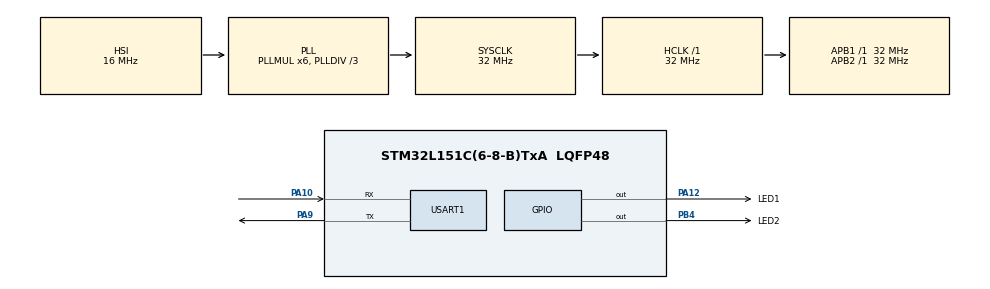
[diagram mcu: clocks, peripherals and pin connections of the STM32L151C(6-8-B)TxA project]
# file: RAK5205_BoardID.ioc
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Mcu.Family=STM32L1
Mcu.Name=STM32L151C(6-8-B)TxA
Mcu.Package=LQFP48
NVIC.PriorityGroup=NVIC_PRIORITYGROUP_4
PA10.Mode=Asynchronous
PA10.Signal=USART1_RX
PA12.GPIO_Label=LED1
PA12.PinState=GPIO_PIN_SET
PA12.Signal=GPIO_Output
PA13.Mode=Serial_Wire
PA13.Signal=SYS_JTMS-SWDIO
PA14.Mode=Serial_Wire
PA14.Signal=SYS_JTCK-SWCLK
PA9.Mode=Asynchronous
PA9.Signal=USART1_TX
PB4.GPIO_Label=LED2
PB4.PinState=GPIO_PIN_SET
PB4.Signal=GPIO_Output
ProjectManager.HeapSize=0x200
ProjectManager.StackSize=0x400
ProjectManager.TargetToolchain=SW4STM32
RCC.48MHZClocksFreq_Value=48000000
RCC.AHBFreq_Value=32000000
RCC.APB1Freq_Value=32000000
RCC.APB1TimFreq_Value=32000000
RCC.APB2Freq_Value=32000000
RCC.APB2TimFreq_Value=32000000
RCC.HCLKFreq_Value=32000000
RCC.HSE_VALUE=24000000
RCC.HSI_VALUE=16000000
RCC.LSE_VALUE=32768
RCC.MSI_VALUE=2097000
RCC.PLLDIV=RCC_PLL_DIV3
RCC.PLLMUL=RCC_PLL_MUL6
RCC.SYSCLKFreq_VALUE=32000000
RCC.SYSCLKSource=RCC_SYSCLKSOURCE_PLLCLK
RCC.VCOOutputFreq_Value=96000000
USART1.VirtualMode=VM_ASYNC
board=custom

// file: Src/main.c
/* USER CODE BEGIN Header */
/**
  ******************************************************************************
  * @file           : main.c
  * @brief          : Main program body
  ******************************************************************************
  ** This notice applies to any and all portions of this file
  * that are not between comment pairs USER CODE BEGIN and
  * USER CODE END. Other portions of this file, whether
  * inserted by the user or by software development tools
  * are owned by their respective copyright owners.
  *
  * COPYRIGHT(c) 2018 STMicroelectronics
  *
  * Redistribution and use in source and binary forms, with or without modification,
  * are permitted provided that the following conditions are met:
  *   1. Redistributions of source code must retain the above copyright notice,
  *      this list of conditions and the following disclaimer.
  *   2. Redistributions in binary form must reproduce the above copyright notice,
  *      this list of conditions and the following disclaimer in the documentation
  *      and/or other materials provided with the distribution.
  *   3. Neither the name of STMicroelectronics nor the names of its contributors
  *      may be used to endorse or promote products derived from this software
  *      without specific prior written permission.
  *
  * THIS SOFTWARE IS PROVIDED BY THE COPYRIGHT HOLDERS AND CONTRIBUTORS "AS IS"
  * AND ANY EXPRESS OR IMPLIED WARRANTIES, INCLUDING, BUT NOT LIMITED TO, THE
  * IMPLIED WARRANTIES OF MERCHANTABILITY AND FITNESS FOR A PARTICULAR PURPOSE ARE
  * DISCLAIMED. IN NO EVENT SHALL THE COPYRIGHT HOLDER OR CONTRIBUTORS BE LIABLE
  * FOR ANY DIRECT, INDIRECT, INCIDENTAL, SPECIAL, EXEMPLARY, OR CONSEQUENTIAL
  * DAMAGES (INCLUDING, BUT NOT LIMITED TO, PROCUREMENT OF SUBSTITUTE GOODS OR
  * SERVICES; LOSS OF USE, DATA, OR PROFITS; OR BUSINESS INTERRUPTION) HOWEVER
  * CAUSED AND ON ANY THEORY OF LIABILITY, WHETHER IN CONTRACT, STRICT LIABILITY,
  * OR TORT (INCLUDING NEGLIGENCE OR OTHERWISE) ARISING IN ANY WAY OUT OF THE USE
  * OF THIS SOFTWARE, EVEN IF ADVISED OF THE POSSIBILITY OF SUCH DAMAGE.
  *
  ******************************************************************************
  */
/* USER CODE END Header */

#include "main.h"

UART_HandleTypeDef huart1;

void SystemClock_Config(void);
static void MX_GPIO_Init(void);
static void MX_USART1_UART_Init(void);

int main(void)
{
  /* USER CODE BEGIN 1 */
  uint8_t DevEui[8];
  /* USER CODE END 1 */

  /* MCU Configuration--------------------------------------------------------*/

  /* Reset of all peripherals, Initializes the Flash interface and the Systick. */
  HAL_Init();

  /* Configure the system clock */
  SystemClock_Config();

  /* Initialize all configured peripherals */
  MX_GPIO_Init();
  MX_USART1_UART_Init();
  /* USER CODE BEGIN 2 */
  printf("Print the RAK5205 Board ID\r\n");
  printf("This information is needed to fill the device EUI field when registering the device with TTN\r\n");
  printf("Uli Raich, 11.12.2018\r\n");
  printf("This program is part of the UCC LoRa project\r\n");
  printf("University of Cape Coast, Cape Coast, Ghana\r\n");
  printf("Released under GPL\r\n");
/*
 * read the ID registers and print the contents
 */
  DevEui[7] = ( ( *( uint32_t* )ID1 )+ ( *( uint32_t* )ID3 ) ) >> 24;
  DevEui[6] = ( ( *( uint32_t* )ID1 )+ ( *( uint32_t* )ID3 ) ) >> 16;
  DevEui[5] = ( ( *( uint32_t* )ID1 )+ ( *( uint32_t* )ID3 ) ) >> 8;
  DevEui[4] = ( ( *( uint32_t* )ID1 )+ ( *( uint32_t* )ID3 ) );
  DevEui[3] = ( ( *( uint32_t* )ID2 ) ) >> 24;
  DevEui[2] = ( ( *( uint32_t* )ID2 ) ) >> 16;
  DevEui[1] = ( ( *( uint32_t* )ID2 ) ) >> 8;
  DevEui[0] = ( ( *( uint32_t* )ID2 ) );

  printf("Dev Eui read from board identifier: { ");
  for (int i=0;i<8;i++) {
	  if (i==7)
		  printf("0x%02x }\r\n",DevEui[i]);
	  else
		  printf("0x%02x, ",DevEui[i]);
  }
  /* USER CODE END 2 */

  /* Infinite loop */
  while (1)
  {

  }
}

void SystemClock_Config(void)
{
  RCC_OscInitTypeDef RCC_OscInitStruct = {0};
  RCC_ClkInitTypeDef RCC_ClkInitStruct = {0};

  /**Configure the main internal regulator output voltage
  */
  __HAL_PWR_VOLTAGESCALING_CONFIG(PWR_REGULATOR_VOLTAGE_SCALE1);
  /**Initializes the CPU, AHB and APB busses clocks
  */
  RCC_OscInitStruct.OscillatorType = RCC_OSCILLATORTYPE_HSI;
  RCC_OscInitStruct.HSIState = RCC_HSI_ON;
  RCC_OscInitStruct.HSICalibrationValue = RCC_HSICALIBRATION_DEFAULT;
  RCC_OscInitStruct.PLL.PLLState = RCC_PLL_ON;
  RCC_OscInitStruct.PLL.PLLSource = RCC_PLLSOURCE_HSI;
  RCC_OscInitStruct.PLL.PLLMUL = RCC_PLL_MUL6;
  RCC_OscInitStruct.PLL.PLLDIV = RCC_PLL_DIV3;
  if (HAL_RCC_OscConfig(&RCC_OscInitStruct) != HAL_OK)
  {
    Error_Handler();
  }
  /**Initializes the CPU, AHB and APB busses clocks
  */
  RCC_ClkInitStruct.ClockType = RCC_CLOCKTYPE_HCLK|RCC_CLOCKTYPE_SYSCLK
                              |RCC_CLOCKTYPE_PCLK1|RCC_CLOCKTYPE_PCLK2;
  RCC_ClkInitStruct.SYSCLKSource = RCC_SYSCLKSOURCE_PLLCLK;
  RCC_ClkInitStruct.AHBCLKDivider = RCC_SYSCLK_DIV1;
  RCC_ClkInitStruct.APB1CLKDivider = RCC_HCLK_DIV1;
  RCC_ClkInitStruct.APB2CLKDivider = RCC_HCLK_DIV1;

  if (HAL_RCC_ClockConfig(&RCC_ClkInitStruct, FLASH_LATENCY_1) != HAL_OK)
  {
    Error_Handler();
  }
}

static void MX_USART1_UART_Init(void)
{

  huart1.Instance = USART1;
  huart1.Init.BaudRate = 115200;
  huart1.Init.WordLength = UART_WORDLENGTH_8B;
  huart1.Init.StopBits = UART_STOPBITS_1;
  huart1.Init.Parity = UART_PARITY_NONE;
  huart1.Init.Mode = UART_MODE_TX_RX;
  huart1.Init.HwFlowCtl = UART_HWCONTROL_NONE;
  huart1.Init.OverSampling = UART_OVERSAMPLING_16;
  if (HAL_UART_Init(&huart1) != HAL_OK)
  {
    Error_Handler();
  }

}

static void MX_GPIO_Init(void)
{
  GPIO_InitTypeDef GPIO_InitStruct = {0};

  /* GPIO Ports Clock Enable */
  __HAL_RCC_GPIOC_CLK_ENABLE();
  __HAL_RCC_GPIOH_CLK_ENABLE();
  __HAL_RCC_GPIOA_CLK_ENABLE();
  __HAL_RCC_GPIOB_CLK_ENABLE();

  /*Configure GPIO pin Output Level */
  HAL_GPIO_WritePin(LED1_GPIO_Port, LED1_Pin, GPIO_PIN_SET);

  /*Configure GPIO pin Output Level */
  HAL_GPIO_WritePin(LED2_GPIO_Port, LED2_Pin, GPIO_PIN_SET);

  /*Configure GPIO pins : PC13 PC14 PC15 */
  GPIO_InitStruct.Pin = GPIO_PIN_13|GPIO_PIN_14|GPIO_PIN_15;
  GPIO_InitStruct.Mode = GPIO_MODE_ANALOG;
  GPIO_InitStruct.Pull = GPIO_NOPULL;
  HAL_GPIO_Init(GPIOC, &GPIO_InitStruct);

  /*Configure GPIO pins : PH0 PH1 */
  GPIO_InitStruct.Pin = GPIO_PIN_0|GPIO_PIN_1;
  GPIO_InitStruct.Mode = GPIO_MODE_ANALOG;
  GPIO_InitStruct.Pull = GPIO_NOPULL;
  HAL_GPIO_Init(GPIOH, &GPIO_InitStruct);

  /*Configure GPIO pins : PA0 PA1 PA2 PA3
                           PA4 PA5 PA6 PA7
                           PA8 PA11 PA15 */
  GPIO_InitStruct.Pin = GPIO_PIN_0|GPIO_PIN_1|GPIO_PIN_2|GPIO_PIN_3
                          |GPIO_PIN_4|GPIO_PIN_5|GPIO_PIN_6|GPIO_PIN_7
                          |GPIO_PIN_8|GPIO_PIN_11|GPIO_PIN_15;
  GPIO_InitStruct.Mode = GPIO_MODE_ANALOG;
  GPIO_InitStruct.Pull = GPIO_NOPULL;
  HAL_GPIO_Init(GPIOA, &GPIO_InitStruct);

  /*Configure GPIO pins : PB0 PB1 PB2 PB10
                           PB11 PB12 PB13 PB14
                           PB15 PB3 PB5 PB6
                           PB7 PB8 PB9 */
  GPIO_InitStruct.Pin = GPIO_PIN_0|GPIO_PIN_1|GPIO_PIN_2|GPIO_PIN_10
                          |GPIO_PIN_11|GPIO_PIN_12|GPIO_PIN_13|GPIO_PIN_14
                          |GPIO_PIN_15|GPIO_PIN_3|GPIO_PIN_5|GPIO_PIN_6
                          |GPIO_PIN_7|GPIO_PIN_8|GPIO_PIN_9;
  GPIO_InitStruct.Mode = GPIO_MODE_ANALOG;
  GPIO_InitStruct.Pull = GPIO_NOPULL;
  HAL_GPIO_Init(GPIOB, &GPIO_InitStruct);

  /*Configure GPIO pin : LED1_Pin */
  GPIO_InitStruct.Pin = LED1_Pin;
  GPIO_InitStruct.Mode = GPIO_MODE_OUTPUT_PP;
  GPIO_InitStruct.Pull = GPIO_NOPULL;
  GPIO_InitStruct.Speed = GPIO_SPEED_FREQ_LOW;
  HAL_GPIO_Init(LED1_GPIO_Port, &GPIO_InitStruct);

  /*Configure GPIO pin : LED2_Pin */
  GPIO_InitStruct.Pin = LED2_Pin;
  GPIO_InitStruct.Mode = GPIO_MODE_OUTPUT_PP;
  GPIO_InitStruct.Pull = GPIO_NOPULL;
  GPIO_InitStruct.Speed = GPIO_SPEED_FREQ_LOW;
  HAL_GPIO_Init(LED2_GPIO_Port, &GPIO_InitStruct);

}

void Error_Handler(void)
{
}

/************************ (C) COPYRIGHT STMicroelectronics *****END OF FILE****/
